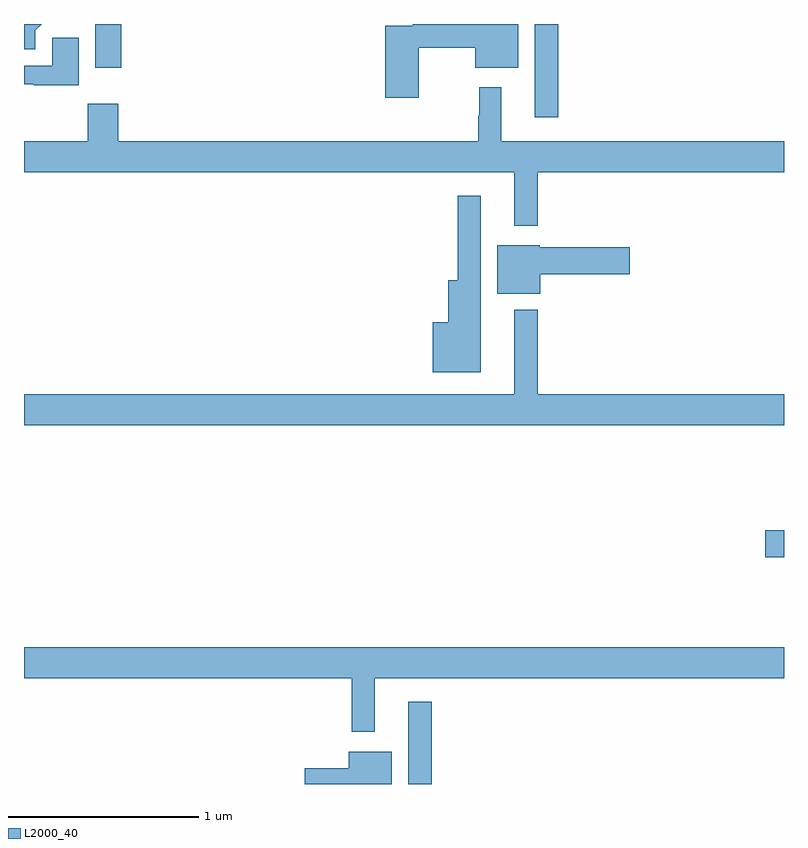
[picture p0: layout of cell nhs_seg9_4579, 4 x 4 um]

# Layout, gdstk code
import gdstk
lib = gdstk.Library(unit=1e-6, precision=1e-09)
def R(c, l, rs):  # rectangles x0, y0, x1, y1
    for r in rs: c.add(gdstk.rectangle(r[:2], r[2:], *l))
def P(c, l, *ps):  # polygons
    for p in ps: c.add(gdstk.Polygon(p, *l))
L2000_40 = (2000, 40)

nhs_seg9_4579 = lib.new_cell('nhs_seg9_4579')
R(nhs_seg9_4579, L2000_40, [(375.023,1226.5,375.145,1226.932), (376.902,1227.694,377,1227.836), (375.689,1230.009,375.811,1230.5), (373.376,1230.27,373.511,1230.5)])
P(nhs_seg9_4579, L2000_40, [(375.078,1230.376),(375.374,1230.376),(375.374,1230.269),(375.601,1230.269),(375.601,1230.5),(375.046,1230.5),(375.046,1230.492),(374.9,1230.492),(374.9,1230.111),(375.078,1230.111)],
  [(373.06,1230.466),(373.094,1230.5),(373,1230.5),(373,1230.368),(373.06,1230.368)],
  [(373.288,1230.428),(373.149,1230.428),(373.149,1230.279),(373,1230.279),(373,1230.183),(373.052,1230.183),(373.052,1230.178),(373.288,1230.178)],
  [(375.703,1229.72),(377,1229.72),(377,1229.884),(375.511,1229.884),(375.511,1230.166),(375.397,1230.166),(375.397,1230.017),(375.39,1230.017),(375.39,1229.884),(373.496,1229.884),(373.496,1230.079),(373.336,1230.079),(373.336,1229.884),(373,1229.884),(373,1229.72),(375.581,1229.72),(375.581,1229.439),(375.703,1229.439)],
  [(375.403,1229.596),(375.282,1229.596),(375.282,1229.152),(375.233,1229.152),(375.233,1228.93),(375.152,1228.93),(375.152,1228.667),(375.403,1228.667)],
  [(375.718,1229.183),(376.189,1229.183),(376.189,1229.325),(375.714,1229.325),(375.714,1229.335),(375.491,1229.335),(375.491,1229.081),(375.718,1229.081)],
  [(377,1228.552),(375.703,1228.552),(375.703,1228.996),(375.581,1228.996),(375.581,1228.552),(373,1228.552),(373,1228.388),(377,1228.388)],
  [(374.845,1227.056),(377,1227.056),(377,1227.22),(373,1227.22),(373,1227.056),(374.724,1227.056),(374.724,1226.775),(374.845,1226.775)],
  [(374.935,1226.671),(374.708,1226.671),(374.708,1226.583),(374.478,1226.583),(374.478,1226.5),(374.935,1226.5)])

lib.write_gds('nhs_seg9_4579.gds')
